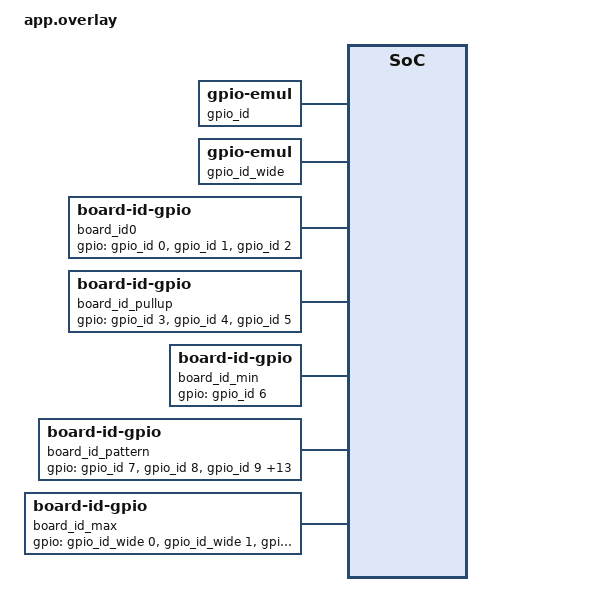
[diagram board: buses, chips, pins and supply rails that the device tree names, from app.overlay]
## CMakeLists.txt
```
# SPDX-License-Identifier: Apache-2.0

cmake_minimum_required(VERSION 3.20.0)
find_package(Zephyr REQUIRED HINTS $ENV{ZEPHYR_BASE})
project(board_id_api)

target_sources(app PRIVATE src/main.c)
```

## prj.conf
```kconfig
# SPDX-License-Identifier: Apache-2.0

CONFIG_ZTEST=y
CONFIG_GPIO=y
CONFIG_GPIO_EMUL=y
CONFIG_BOARD_ID=y
CONFIG_BOARD_ID_LOG_LEVEL_DBG=y
```

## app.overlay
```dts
/*
 * SPDX-License-Identifier: Apache-2.0
 * SPDX-FileCopyrightText: Copyright The Zephyr Project Contributors
 */

#include <zephyr/dt-bindings/gpio/gpio.h>

/ {
	gpio_id: gpio-id-emul {
		compatible = "zephyr,gpio-emul";
		gpio-controller;
		#gpio-cells = <2>;
		ngpios = <32>;
		status = "okay";
	};

	gpio_id_wide: gpio-id-wide-emul {
		compatible = "zephyr,gpio-emul";
		gpio-controller;
		#gpio-cells = <2>;
		ngpios = <32>;
		status = "okay";
	};

	board_id0: board-id0 {
		compatible = "zephyr,board-id-gpio";
		gpios = <&gpio_id 0 GPIO_ACTIVE_HIGH>,
			<&gpio_id 1 GPIO_ACTIVE_HIGH>,
			<&gpio_id 2 GPIO_ACTIVE_HIGH>;
	};

	board_id_pullup: board-id-pullup {
		compatible = "zephyr,board-id-gpio";
		gpios = <&gpio_id 3 (GPIO_ACTIVE_HIGH | GPIO_PULL_UP)>,
			<&gpio_id 4 (GPIO_ACTIVE_HIGH | GPIO_PULL_UP)>,
			<&gpio_id 5 (GPIO_ACTIVE_HIGH | GPIO_PULL_UP)>;
	};

	board_id_min: board-id-min {
		compatible = "zephyr,board-id-gpio";
		gpios = <&gpio_id 6 GPIO_ACTIVE_HIGH>;
	};

	/*
	 * Known bit pattern to pin the emitted byte order: bit0 (gpios index
	 * 7, first entry) and bit15 (index 22, last entry) pulled high,
	 * everything between floating low. Packed value 0x8001; the driver
	 * must emit it big-endian as { 0x80, 0x01 }.
	 */
	board_id_pattern: board-id-pattern {
		compatible = "zephyr,board-id-gpio";
		gpios = <&gpio_id 7 (GPIO_ACTIVE_HIGH | GPIO_PULL_UP)>,
			<&gpio_id 8 GPIO_ACTIVE_HIGH>,
			<&gpio_id 9 GPIO_ACTIVE_HIGH>,
			<&gpio_id 10 GPIO_ACTIVE_HIGH>,
			<&gpio_id 11 GPIO_ACTIVE_HIGH>,
			<&gpio_id 12 GPIO_ACTIVE_HIGH>,
			<&gpio_id 13 GPIO_ACTIVE_HIGH>,
			<&gpio_id 14 GPIO_ACTIVE_HIGH>,
			<&gpio_id 15 GPIO_ACTIVE_HIGH>,
			<&gpio_id 16 GPIO_ACTIVE_HIGH>,
			<&gpio_id 17 GPIO_ACTIVE_HIGH>,
			<&gpio_id 18 GPIO_ACTIVE_HIGH>,
			<&gpio_id 19 GPIO_ACTIVE_HIGH>,
			<&gpio_id 20 GPIO_ACTIVE_HIGH>,
			<&gpio_id 21 GPIO_ACTIVE_HIGH>,
			<&gpio_id 22 (GPIO_ACTIVE_HIGH | GPIO_PULL_UP)>;
	};

	board_id_max: board-id-max {
		compatible = "zephyr,board-id-gpio";
		gpios = <&gpio_id_wide 0 (GPIO_ACTIVE_HIGH | GPIO_PULL_UP)>,
			<&gpio_id_wide 1 (GPIO_ACTIVE_HIGH | GPIO_PULL_UP)>,
			<&gpio_id_wide 2 (GPIO_ACTIVE_HIGH | GPIO_PULL_UP)>,
			<&gpio_id_wide 3 (GPIO_ACTIVE_HIGH | GPIO_PULL_UP)>,
			<&gpio_id_wide 4 (GPIO_ACTIVE_HIGH | GPIO_PULL_UP)>,
			<&gpio_id_wide 5 (GPIO_ACTIVE_HIGH | GPIO_PULL_UP)>,
			<&gpio_id_wide 6 (GPIO_ACTIVE_HIGH | GPIO_PULL_UP)>,
			<&gpio_id_wide 7 (GPIO_ACTIVE_HIGH | GPIO_PULL_UP)>,
			<&gpio_id_wide 8 (GPIO_ACTIVE_HIGH | GPIO_PULL_UP)>,
			<&gpio_id_wide 9 (GPIO_ACTIVE_HIGH | GPIO_PULL_UP)>,
			<&gpio_id_wide 10 (GPIO_ACTIVE_HIGH | GPIO_PULL_UP)>,
			<&gpio_id_wide 11 (GPIO_ACTIVE_HIGH | GPIO_PULL_UP)>,
			<&gpio_id_wide 12 (GPIO_ACTIVE_HIGH | GPIO_PULL_UP)>,
			<&gpio_id_wide 13 (GPIO_ACTIVE_HIGH | GPIO_PULL_UP)>,
			<&gpio_id_wide 14 (GPIO_ACTIVE_HIGH | GPIO_PULL_UP)>,
			<&gpio_id_wide 15 (GPIO_ACTIVE_HIGH | GPIO_PULL_UP)>,
			<&gpio_id_wide 16 (GPIO_ACTIVE_HIGH | GPIO_PULL_UP)>,
			<&gpio_id_wide 17 (GPIO_ACTIVE_HIGH | GPIO_PULL_UP)>,
			<&gpio_id_wide 18 (GPIO_ACTIVE_HIGH | GPIO_PULL_UP)>,
			<&gpio_id_wide 19 (GPIO_ACTIVE_HIGH | GPIO_PULL_UP)>,
			<&gpio_id_wide 20 (GPIO_ACTIVE_HIGH | GPIO_PULL_UP)>,
			<&gpio_id_wide 21 (GPIO_ACTIVE_HIGH | GPIO_PULL_UP)>,
			<&gpio_id_wide 22 (GPIO_ACTIVE_HIGH | GPIO_PULL_UP)>,
			<&gpio_id_wide 23 (GPIO_ACTIVE_HIGH | GPIO_PULL_UP)>,
			<&gpio_id_wide 24 (GPIO_ACTIVE_HIGH | GPIO_PULL_UP)>,
			<&gpio_id_wide 25 (GPIO_ACTIVE_HIGH | GPIO_PULL_UP)>,
			<&gpio_id_wide 26 (GPIO_ACTIVE_HIGH | GPIO_PULL_UP)>,
			<&gpio_id_wide 27 (GPIO_ACTIVE_HIGH | GPIO_PULL_UP)>,
			<&gpio_id_wide 28 (GPIO_ACTIVE_HIGH | GPIO_PULL_UP)>,
			<&gpio_id_wide 29 (GPIO_ACTIVE_HIGH | GPIO_PULL_UP)>,
			<&gpio_id_wide 30 (GPIO_ACTIVE_HIGH | GPIO_PULL_UP)>,
			<&gpio_id_wide 31 (GPIO_ACTIVE_HIGH | GPIO_PULL_UP)>;
	};
};
```

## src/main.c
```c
/*
 * SPDX-License-Identifier: Apache-2.0
 * SPDX-FileCopyrightText: Copyright The Zephyr Project Contributors
 */

#include <zephyr/device.h>
#include <zephyr/devicetree.h>
#include <zephyr/drivers/board_id.h>
#include <zephyr/drivers/gpio.h>
#include <zephyr/drivers/gpio/gpio_emul.h>
#include <zephyr/ztest.h>

/* idle-config = "none": no pull, straps read 0 at init. */
static const struct device *const board_id0 = DEVICE_DT_GET(DT_NODELABEL(board_id0));

/* idle-config = "pull-up": all straps read 1 at init. */
static const struct device *const board_id_pullup = DEVICE_DT_GET(DT_NODELABEL(board_id_pullup));

/* Single-pin edge case, no pull. */
static const struct device *const board_id_min = DEVICE_DT_GET(DT_NODELABEL(board_id_min));

/* 32-pin edge case, pulled up. */
static const struct device *const board_id_max = DEVICE_DT_GET(DT_NODELABEL(board_id_max));

/* 16-pin known bit pattern, to pin the emitted byte order. */
static const struct device *const board_id_pattern = DEVICE_DT_GET(DT_NODELABEL(board_id_pattern));

static const struct device *const gpio_id = DEVICE_DT_GET(DT_NODELABEL(gpio_id));

ZTEST(board_id_gpio, test_ready)
{
	zassert_true(device_is_ready(board_id0), "board_id0 not ready");
	zassert_true(device_is_ready(board_id_pullup), "board_id_pullup not ready");
	zassert_true(device_is_ready(board_id_min), "board_id_min not ready");
	zassert_true(device_is_ready(board_id_max), "board_id_max not ready");
	zassert_true(device_is_ready(board_id_pattern), "board_id_pattern not ready");
}

ZTEST(board_id_gpio, test_happy_path_no_pull)
{
	uint8_t buf[1] = {0xFFU};

	zassert_equal(board_id_read(board_id0, buf, sizeof(buf)), 1);
	zassert_equal(buf[0], 0x00U, "expected all straps low, got 0x%02x", buf[0]);
}

ZTEST(board_id_gpio, test_happy_path_pull_up)
{
	uint8_t buf[1] = {0};

	zassert_equal(board_id_read(board_id_pullup, buf, sizeof(buf)), 1);
	zassert_equal(buf[0], 0x07U, "expected all 3 straps high, got 0x%02x", buf[0]);
}

ZTEST(board_id_gpio, test_pin_count_min)
{
	uint8_t buf[1] = {0xFFU};

	zassert_equal(board_id_read(board_id_min, buf, sizeof(buf)), 1);
	zassert_equal(buf[0], 0x00U, "expected single strap low, got 0x%02x", buf[0]);
}

ZTEST(board_id_gpio, test_pin_count_max)
{
	uint8_t buf[4] = {0};

	zassert_equal(board_id_read(board_id_max, buf, sizeof(buf)), 4);
	zassert_equal(buf[0], 0xFFU, "byte 0 mismatch: 0x%02x", buf[0]);
	zassert_equal(buf[1], 0xFFU, "byte 1 mismatch: 0x%02x", buf[1]);
	zassert_equal(buf[2], 0xFFU, "byte 2 mismatch: 0x%02x", buf[2]);
	zassert_equal(buf[3], 0xFFU, "byte 3 mismatch: 0x%02x", buf[3]);
}

/* Packed value 0x8001: pin that the driver emits it big-endian, MSB first. */
ZTEST(board_id_gpio, test_byte_order)
{
	uint8_t buf[2] = {0};

	zassert_equal(board_id_read(board_id_pattern, buf, sizeof(buf)), 2);
	zassert_equal(buf[0], 0x80U, "MSB mismatch: 0x%02x", buf[0]);
	zassert_equal(buf[1], 0x01U, "LSB mismatch: 0x%02x", buf[1]);
}

ZTEST(board_id_gpio, test_short_buffer_returns_leading_bytes)
{
	uint8_t buf[1] = {0};

	/* Buffer shorter than the 2-byte identity: get the leading (MSB) byte only. */
	zassert_equal(board_id_read(board_id_pattern, buf, sizeof(buf)), 1);
	zassert_equal(buf[0], 0x80U, "expected leading byte only, got 0x%02x", buf[0]);
}

ZTEST(board_id_gpio, test_value_is_cached_at_init)
{
	uint8_t buf[1] = {0xFFU};

	/* Driver must return the value cached at init, not a live read. */
	zassert_ok(gpio_emul_input_set(gpio_id, 0, 1));

	zassert_equal(board_id_read(board_id0, buf, sizeof(buf)), 1);
	zassert_equal(buf[0], 0x00U, "cached value changed after a live GPIO edit: 0x%02x", buf[0]);

	/* Restore, so this test does not leak state into another test case. */
	zassert_ok(gpio_emul_input_set(gpio_id, 0, 0));
}

ZTEST(board_id_gpio, test_einval_on_null_buffer)
{
	zassert_equal(board_id_read(board_id0, NULL, 1), -EINVAL);
}

ZTEST(board_id_gpio, test_einval_on_zero_length)
{
	uint8_t buf[1] = {0};

	zassert_equal(board_id_read(board_id0, buf, 0), -EINVAL);
}

/* Backend-independent: a failing read must return -EIO. */
static int fake_board_id_read_eio(const struct device *dev, uint8_t *buffer, size_t length)
{
	ARG_UNUSED(dev);
	ARG_UNUSED(buffer);
	ARG_UNUSED(length);

	return -EIO;
}

static DEVICE_API(board_id, fake_board_id_api) = {
	.read = fake_board_id_read_eio,
};

static const struct device fake_board_id_dev = {
	.name = "fake_board_id",
	.api = &fake_board_id_api,
};

ZTEST(board_id_gpio, test_eio_on_transport_failure)
{
	uint8_t buf[1] = {0};

	zassert_equal(board_id_read(&fake_board_id_dev, buf, sizeof(buf)), -EIO);
}

ZTEST_SUITE(board_id_gpio, NULL, NULL, NULL, NULL, NULL);
```
